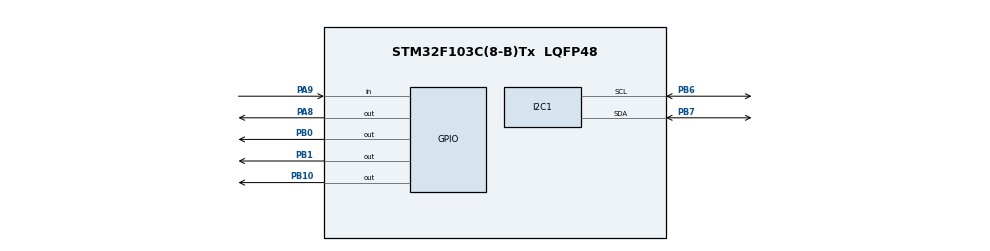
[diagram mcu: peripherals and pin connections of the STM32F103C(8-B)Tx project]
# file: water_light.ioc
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Mcu.Family=STM32F1
Mcu.Name=STM32F103C(8-B)Tx
Mcu.Package=LQFP48
NVIC.PriorityGroup=NVIC_PRIORITYGROUP_4
PA13.Mode=Serial_Wire
PA13.Signal=SYS_JTMS-SWDIO
PA14.Mode=Serial_Wire
PA14.Signal=SYS_JTCK-SWCLK
PA8.GPIO_ModeDefaultOutputPP=GPIO_MODE_OUTPUT_PP
PA8.Signal=GPIO_Output
PA9.GPIO_PuPd=GPIO_NOPULL
PA9.Signal=GPIO_Input
PB0.GPIO_ModeDefaultOutputPP=GPIO_MODE_OUTPUT_PP
PB0.GPIO_PuPd=GPIO_NOPULL
PB0.Signal=GPIO_Output
PB1.GPIO_ModeDefaultOutputPP=GPIO_MODE_OUTPUT_PP
PB1.GPIO_PuPd=GPIO_NOPULL
PB1.Signal=GPIO_Output
PB10.GPIO_ModeDefaultOutputPP=GPIO_MODE_OUTPUT_PP
PB10.GPIO_PuPd=GPIO_NOPULL
PB10.Signal=GPIO_Output
PB6.Mode=I2C
PB6.Signal=I2C1_SCL
PB7.Mode=I2C
PB7.Signal=I2C1_SDA
ProjectManager.HeapSize=0x200
ProjectManager.StackSize=0x400
ProjectManager.TargetToolchain=MDK-ARM V5.32
RCC.APB1Freq_Value=8000000
RCC.APB2Freq_Value=8000000
board=custom

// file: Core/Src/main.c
/* USER CODE BEGIN Header */
/**
  ******************************************************************************
  * @file           : main.c
  * @brief          : Main program body
  ******************************************************************************
  * @attention
  *
  * Copyright (c) 2026 STMicroelectronics.
  * All rights reserved.
  *
  * This software is licensed under terms that can be found in the LICENSE file
  * in the root directory of this software component.
  * If no LICENSE file comes with this software, it is provided AS-IS.
  *
  ******************************************************************************
  */
/* USER CODE END Header */
#include "main.h"
#include "i2c.h"
#include "gpio.h"
#include "oled.h"
#include "stdio.h"
#include "hc_sr04.h"

void SystemClock_Config(void);

/* USER CODE BEGIN 0 */
#define LED_NUM 3
//echo是进入
uint8_t led_level = 0;
uint32_t distance_cm = 0;
char line1[24];
char line2[24];
char line3[24];
GPIO_TypeDef* LED_PORT[LED_NUM] = {GPIOB, GPIOB, GPIOB};
uint16_t LED_PIN[LED_NUM]       = {GPIO_PIN_0, GPIO_PIN_1, GPIO_PIN_10};
void LED_All_Off(void)
{
	for(uint16_t i=0;i < LED_NUM;i++)
	{
		HAL_GPIO_WritePin(LED_PORT[i],LED_PIN[i],GPIO_PIN_RESET);
	}
}
void LED_Show_Level(uint8_t level)
{
	 LED_All_Off();
	    if (level >= 1)
    {
        HAL_GPIO_WritePin(GPIOB, GPIO_PIN_0, GPIO_PIN_SET);
    }

    if (level >= 2)
    {
        HAL_GPIO_WritePin(GPIOB, GPIO_PIN_1, GPIO_PIN_SET);
    }

    if (level >= 3)
    {
        HAL_GPIO_WritePin(GPIOB, GPIO_PIN_10, GPIO_PIN_SET);
    }
}

/* USER CODE END 0 */

int main(void)
{

  /* USER CODE BEGIN 1 */
uint8_t led_level = 0;
  /* USER CODE END 1 */

  /* MCU Configuration--------------------------------------------------------*/

  /* Reset of all peripherals, Initializes the Flash interface and the Systick. */
  HAL_Init();

  /* Configure the system clock */
  SystemClock_Config();

  /* Initialize all configured peripherals */
  MX_GPIO_Init();
  MX_I2C1_Init();
	HC_SR04_Init();
  LED_All_Off();
	OLED_Init();
  OLED_Clear();
  OLED_ShowString(0, 0, "HC-SR04 Ready ");
  OLED_ShowString(2, 0, "gogogo");
  HAL_Delay(100);

  /* Infinite loop */
  /* USER CODE BEGIN WHILE */
  while (1)
  {
		 distance_cm = HC_SR04_Read_cm();

    if (distance_cm == 999 || distance_cm > 50)
    {
        led_level = 0;

    }
    else if (distance_cm > 30)
    {
       led_level = 1;
    }
    else if (distance_cm > 15)
    {
       led_level = 2;
    }
    else
    {
       led_level = 3;
    }
		LED_Show_Level(led_level);//这个是前面的电灯代码

		sprintf(line1, "HC-SR04 Meter");//把这个HC放到字符串line里

    if (distance_cm == 999)
    {
    sprintf(line2, "Dist: No Echo");
    }
    else
    {
    sprintf(line2, "Dist: %lu cm", distance_cm);//sprintf 不是单纯“把 int 转 char”而是：把变量按照指定格式，拼成一整个字符串，存进 char 数组里。
    }

    sprintf(line3, "Echo: %lu us", echo_time_us);

    OLED_Clear();
    OLED_ShowString(0, 0, line1);
    OLED_ShowString(2, 0, line2);
    OLED_ShowString(4, 0, line3);

    HAL_Delay(1000);
    /* USER CODE END WHILE */

  }
}

void SystemClock_Config(void)
{
  RCC_OscInitTypeDef RCC_OscInitStruct = {0};
  RCC_ClkInitTypeDef RCC_ClkInitStruct = {0};

  /** Initializes the RCC Oscillators according to the specified parameters
  * in the RCC_OscInitTypeDef structure.
  */
  RCC_OscInitStruct.OscillatorType = RCC_OSCILLATORTYPE_HSI;
  RCC_OscInitStruct.HSIState = RCC_HSI_ON;
  RCC_OscInitStruct.HSICalibrationValue = RCC_HSICALIBRATION_DEFAULT;
  RCC_OscInitStruct.PLL.PLLState = RCC_PLL_NONE;
  if (HAL_RCC_OscConfig(&RCC_OscInitStruct) != HAL_OK)
  {
    Error_Handler();
  }

  /** Initializes the CPU, AHB and APB buses clocks
  */
  RCC_ClkInitStruct.ClockType = RCC_CLOCKTYPE_HCLK|RCC_CLOCKTYPE_SYSCLK
                              |RCC_CLOCKTYPE_PCLK1|RCC_CLOCKTYPE_PCLK2;
  RCC_ClkInitStruct.SYSCLKSource = RCC_SYSCLKSOURCE_HSI;
  RCC_ClkInitStruct.AHBCLKDivider = RCC_SYSCLK_DIV1;
  RCC_ClkInitStruct.APB1CLKDivider = RCC_HCLK_DIV1;
  RCC_ClkInitStruct.APB2CLKDivider = RCC_HCLK_DIV1;

  if (HAL_RCC_ClockConfig(&RCC_ClkInitStruct, FLASH_LATENCY_0) != HAL_OK)
  {
    Error_Handler();
  }
}

void Error_Handler(void)
{
  __disable_irq();
  while (1)
  {
  }
}
